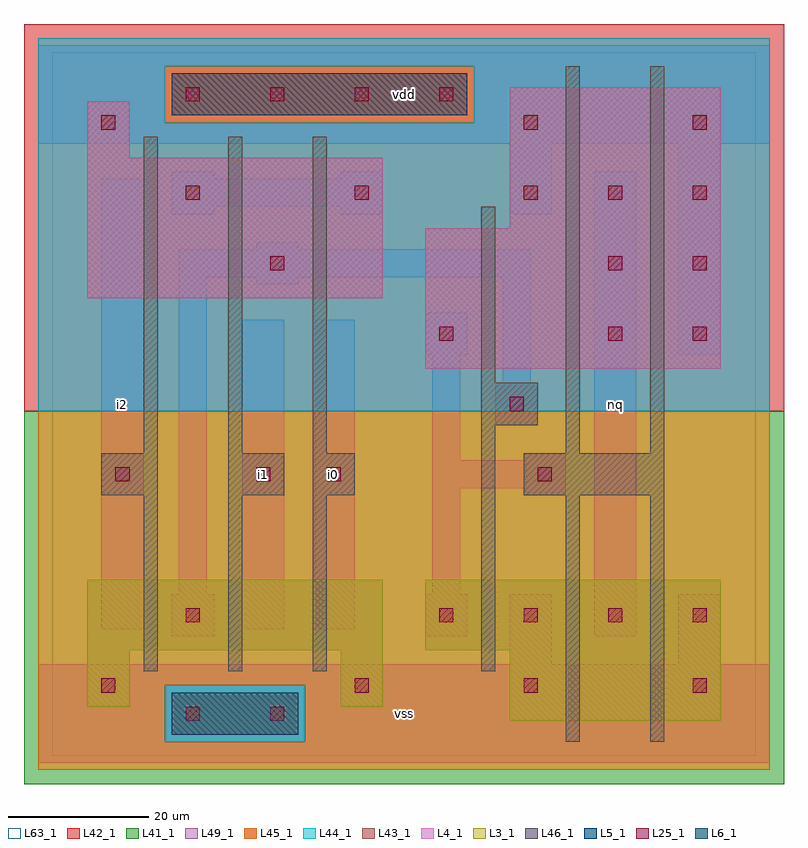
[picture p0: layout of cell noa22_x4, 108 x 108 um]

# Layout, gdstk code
import gdstk
lib = gdstk.Library(unit=1e-6, precision=1e-09)
def R(c, l, rs):  # rectangles x0, y0, x1, y1
    for r in rs: c.add(gdstk.rectangle(r[:2], r[2:], *l))
def A(c, l, x, y, w, h, nx, ny, dx, dy):  # array of equal rectangles
    R(c, l, [(x+i*dx, y+j*dy, x+i*dx+w, y+j*dy+h) for i in range(nx) for j in range(ny)])
L3_1 = (3, 1)
L4_1 = (4, 1)
L5_1 = (5, 1)
L6_1 = (6, 1)
L25_1 = (25, 1)
L41_1 = (41, 1)
L42_1 = (42, 1)
L43_1 = (43, 1)
L44_1 = (44, 1)
L45_1 = (45, 1)
L46_1 = (46, 1)
L49_1 = (49, 1)
L63_1 = (63, 1)

noa22_x4 = lib.new_cell('noa22_x4')
R(noa22_x4, L3_1, [(65,5,95,15), (5,7,11,15), (41,7,47,15), (5,15,47,25), (53,15,95,25)])
R(noa22_x4, L4_1, [(53,55,95,75), (5,65,47,85), (65,75,95,95), (5,85,11,93)])
R(noa22_x4, L5_1, [(17,91,59,97)])
R(noa22_x4, L6_1, [(17,3,35,9)])
A(noa22_x4, L25_1, 43, 9, 2, 2, 3, 1, 24, 0)
A(noa22_x4, L25_1, 55, 19, 2, 2, 4, 1, 12, 0)
A(noa22_x4, L25_1, 79, 59, 2, 2, 1, 3, 0, 10)
A(noa22_x4, L25_1, 91, 59, 2, 2, 1, 4, 0, 10)
A(noa22_x4, L25_1, 19, 79, 2, 2, 3, 1, 24, 0)
A(noa22_x4, L25_1, 19, 93, 2, 2, 4, 1, 12, 0)
R(noa22_x4, L25_1, [(19,5,21,7), (31,5,33,7), (7,9,9,11), (19,19,21,21), (9,39,11,41), (29,39,31,41), (39,39,41,41), (69,39,71,41), (65,49,67,51), (55,59,57,61), (31,69,33,71), (7,89,9,91), (67,89,69,91)])
R(noa22_x4, L41_1, [(-4,-4,104,49)])
R(noa22_x4, L42_1, [(-4,49,104,104)])
R(noa22_x4, L43_1, [(17,3,35,9), (65,5,95,15), (5,7,11,15), (41,7,47,15), (5,15,47,25), (53,15,95,25), (53,55,95,75), (5,65,47,85), (65,75,95,95), (5,85,11,93), (17,91,59,97)])
R(noa22_x4, L44_1, [(16,2,36,10), (-2,49,102,90), (-2,90,16,98), (60,90,102,98), (-2,98,102,102)])
R(noa22_x4, L45_1, [(-2,-2,102,2), (-2,2,16,10), (36,2,102,10), (-2,10,102,49), (16,90,60,98)])
A(noa22_x4, L46_1, 13, 12, 2, 25, 3, 1, 12, 0)
A(noa22_x4, L46_1, 13, 43, 2, 45, 3, 1, 12, 0)
R(noa22_x4, L46_1, [(73,2,75,37), (85,2,87,37), (61,12,63,47), (7,37,15,43), (25,37,33,43), (37,37,43,43), (67,37,87,43), (73,43,75,98), (85,43,87,98), (61,47,69,53), (61,53,63,78)])
R(noa22_x4, L49_1, [(-2,-1,102,13), (65,13,71,23), (89,13,95,23), (17,17,23,23), (53,17,59,23), (77,17,83,83), (7,18,13,82), (27,18,33,62), (37,18,43,62), (18,23,22,68), (54,23,58,38), (67,37,73,38), (54,38,73,42), (54,42,58,57), (67,42,73,43), (63,47,69,53), (64,53,68,68), (53,57,59,63), (89,57,95,87), (29,67,35,68), (18,68,68,72), (29,72,35,73), (17,77,23,78), (41,77,47,78), (65,77,71,87), (17,78,47,82), (17,82,23,83), (41,82,47,83), (-2,87,102,101)])
R(noa22_x4, L63_1, [(0,0,100,100)])
noa22_x4.add(gdstk.Label('i2', (10,50), layer=49, texttype=1))
noa22_x4.add(gdstk.Label('i2', (10,50), layer=49, texttype=1))
noa22_x4.add(gdstk.Label('i1', (30,40), layer=49, texttype=1))
noa22_x4.add(gdstk.Label('i0', (40,40), layer=49, texttype=1))
noa22_x4.add(gdstk.Label('i0', (40,40), layer=49, texttype=1))
noa22_x4.add(gdstk.Label('i1', (30,40), layer=49, texttype=1))
noa22_x4.add(gdstk.Label('vss', (50,6), layer=49, texttype=1))
noa22_x4.add(gdstk.Label('vss', (50,6), layer=49, texttype=1))
noa22_x4.add(gdstk.Label('vdd', (50,94), layer=49, texttype=1))
noa22_x4.add(gdstk.Label('vdd', (50,94), layer=49, texttype=1))
noa22_x4.add(gdstk.Label('nq', (80,50), layer=49, texttype=1))
noa22_x4.add(gdstk.Label('nq', (80,50), layer=49, texttype=1))

lib.write_gds('noa22_x4.gds')
